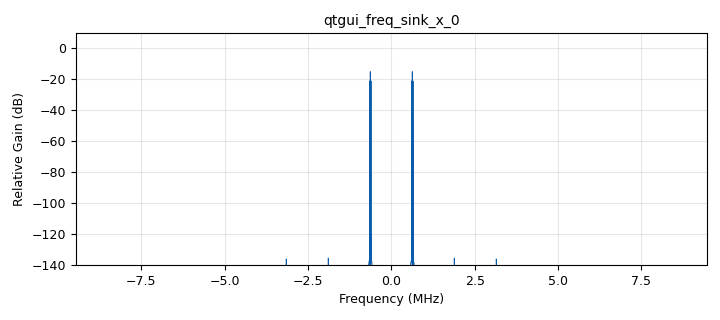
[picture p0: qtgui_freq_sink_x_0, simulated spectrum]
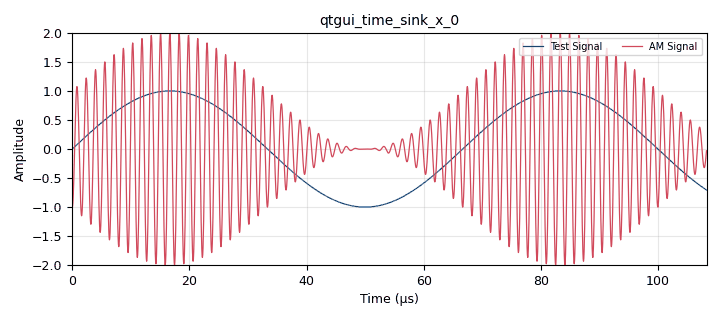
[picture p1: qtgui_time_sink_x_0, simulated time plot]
options:
  parameters:
    generate_options: qt_gui
    id: ECE380Lab3Ex1
    output_language: python
    title: Not titled yet
  states: {}

blocks:
- name: f_audio
  id: variable
  parameters:
    value: '15000'
  states: {}
- name: f_carrier
  id: variable
  parameters:
    value: '630000'
  states: {}
- name: mod_index
  id: variable_qtgui_range
  parameters:
    start: '0'
    step: '0.1'
    stop: '2'
    value: '1'
  states: {}
- name: samp_rate
  id: variable
  parameters:
    value: f_carrier*30
  states: {}
- name: analog_sig_source_x_0
  id: analog_sig_source_x
  parameters:
    amp: mod_index
    freq: f_audio
    offset: '0'
    phase: '0'
    samp_rate: samp_rate
    type: float
    waveform: analog.GR_COS_WAVE
  states: {}
- name: analog_sig_source_x_1
  id: analog_sig_source_x
  parameters:
    amp: '1'
    freq: f_carrier
    offset: '0'
    phase: '0'
    samp_rate: samp_rate
    type: float
    waveform: analog.GR_COS_WAVE
  states: {}
- name: blocks_add_xx_0
  id: blocks_add_xx
  parameters:
    type: float
  states: {}
- name: blocks_multiply_xx_0
  id: blocks_multiply_xx
  parameters:
    type: float
  states: {}
- name: qtgui_freq_sink_x_0
  id: qtgui_freq_sink_x
  parameters:
    bw: samp_rate
    ctrlpanel: 'True'
    fc: '0'
    fftsize: '32768'
    type: float
  states: {}
- name: qtgui_time_sink_x_0
  id: qtgui_time_sink_x
  parameters:
    color1: red
    color2: blue
    ctrlpanel: 'True'
    label1: Test Signal
    label2: AM Signal
    nconnections: '2'
    size: '2048'
    srate: samp_rate
    tr_mode: qtgui.TRIG_MODE_NORM
    type: float
    update_time: '1'
    ymax: '2'
    ymin: '-2'
  states: {}

connections:
- [analog_sig_source_x_0, '0', blocks_multiply_xx_0, '0']
- [analog_sig_source_x_0, '0', qtgui_time_sink_x_0, '0']
- [analog_sig_source_x_1, '0', blocks_add_xx_0, '1']
- [analog_sig_source_x_1, '0', blocks_multiply_xx_0, '1']
- [blocks_add_xx_0, '0', qtgui_freq_sink_x_0, '0']
- [blocks_add_xx_0, '0', qtgui_time_sink_x_0, '1']
- [blocks_multiply_xx_0, '0', blocks_add_xx_0, '0']

metadata:
  file_format: 1
  grc_version: 3.10.12.0
